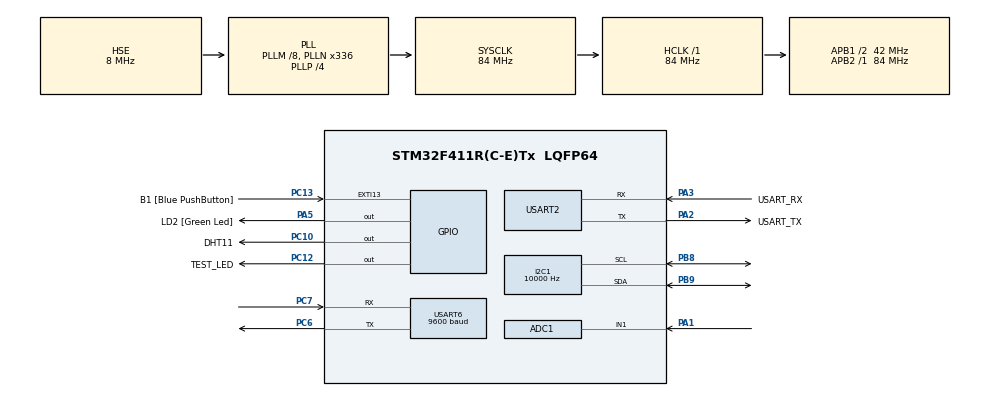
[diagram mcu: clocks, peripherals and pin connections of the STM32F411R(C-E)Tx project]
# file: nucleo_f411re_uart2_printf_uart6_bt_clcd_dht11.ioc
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ADC1.Channel-0\#ChannelRegularConversion=ADC_CHANNEL_1
ADC1.NbrOfConversionFlag=1
ADC1.Rank-0\#ChannelRegularConversion=1
ADC1.SamplingTime-0\#ChannelRegularConversion=ADC_SAMPLETIME_3CYCLES
ADC1.master=1
I2C1.ClockSpeed=10000
Mcu.Family=STM32F4
Mcu.Name=STM32F411R(C-E)Tx
Mcu.Package=LQFP64
NVIC.ADC_IRQn=true\:0\:0\:false\:false\:true\:true\:true\:true
NVIC.PriorityGroup=NVIC_PRIORITYGROUP_0
NVIC.USART2_IRQn=true\:0\:0\:false\:false\:true\:true\:true\:true
NVIC.USART6_IRQn=true\:0\:0\:false\:false\:true\:true\:true\:true
PA1.Signal=ADCx_IN1
PA13.GPIO_Label=TMS
PA13.Mode=Serial_Wire
PA13.Signal=SYS_JTMS-SWDIO
PA14.GPIO_Label=TCK
PA14.Mode=Serial_Wire
PA14.Signal=SYS_JTCK-SWCLK
PA2.GPIO_Label=USART_TX
PA2.Mode=Asynchronous
PA2.Signal=USART2_TX
PA3.GPIO_Label=USART_RX
PA3.Mode=Asynchronous
PA3.Signal=USART2_RX
PA5.GPIO_Label=LD2 [Green Led]
PA5.Signal=GPIO_Output
PB3.GPIO_Label=SWO
PB3.Signal=SYS_JTDO-SWO
PB8.Mode=I2C
PB8.Signal=I2C1_SCL
PB9.Mode=I2C
PB9.Signal=I2C1_SDA
PC10.GPIO_Label=DHT11
PC10.Signal=GPIO_Output
PC12.GPIO_Label=TEST_LED
PC12.Signal=GPIO_Output
PC13-ANTI_TAMP.GPIO_Label=B1 [Blue PushButton]
PC13-ANTI_TAMP.GPIO_ModeDefaultEXTI=GPIO_MODE_IT_FALLING
PC13-ANTI_TAMP.Signal=GPXTI13
PC14-OSC32_IN.Mode=LSE-External-Oscillator
PC14-OSC32_IN.Signal=RCC_OSC32_IN
PC15-OSC32_OUT.Mode=LSE-External-Oscillator
PC15-OSC32_OUT.Signal=RCC_OSC32_OUT
PC6.Mode=Asynchronous
PC6.Signal=USART6_TX
PC7.Mode=Asynchronous
PC7.Signal=USART6_RX
PH0\ -\ OSC_IN.Mode=HSE-External-Clock-Source
PH0\ -\ OSC_IN.Signal=RCC_OSC_IN
PH1\ -\ OSC_OUT.Mode=HSE-External-Clock-Source
PH1\ -\ OSC_OUT.Signal=RCC_OSC_OUT
ProjectManager.HeapSize=0x200
ProjectManager.StackSize=0x400
ProjectManager.TargetToolchain=STM32CubeIDE
RCC.48MHZClocksFreq_Value=84000000
RCC.AHBFreq_Value=84000000
RCC.APB1CLKDivider=RCC_HCLK_DIV2
RCC.APB1Freq_Value=42000000
RCC.APB1TimFreq_Value=84000000
RCC.APB2Freq_Value=84000000
RCC.APB2TimFreq_Value=84000000
RCC.CortexFreq_Value=84000000
RCC.FLatency-AdvancedSettings=FLASH_LATENCY_2
RCC.HCLKFreq_Value=84000000
RCC.HSE_VALUE=8000000
RCC.HSI_VALUE=16000000
RCC.PLLM=8
RCC.PLLN=336
RCC.PLLP=RCC_PLLP_DIV4
RCC.PLLSourceVirtual=RCC_PLLSOURCE_HSE
RCC.SYSCLKFreq_VALUE=84000000
RCC.SYSCLKSource=RCC_SYSCLKSOURCE_PLLCLK
RCC.VCOOutputFreq_Value=336000000
SH.ADCx_IN1.0=ADC1_IN1,IN1
USART2.VirtualMode=VM_ASYNC
USART6.BaudRate=9600
USART6.VirtualMode=VM_ASYNC
board=NUCLEO-F411RE

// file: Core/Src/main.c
/* USER CODE BEGIN Header */
/**
  ******************************************************************************
  * @file           : main.c
  * @brief          : Main program body
  ******************************************************************************
  */
/* USER CODE END Header */
#include "main.h"

/* USER CODE BEGIN Includes */
#include <stdio.h>
#include <string.h>
#include "clcd.h"
#include "dht.h"
/* USER CODE END Includes */

/* USER CODE BEGIN PTD */
// 시간 관리를 위한 구조체 정의
typedef struct {
  int year;
  int month;
  int day;
  int hour;
  int min;
  int sec;
} DATETIME;
/* USER CODE END PTD */

/* USER CODE BEGIN PD */
#ifdef __GNUC__
/* With GCC, small printf (option LD Linker->Libraries->Small printf
   set to 'Yes') calls __io_putchar() */
#define PUTCHAR_PROTOTYPE int __io_putchar(int ch)
#else
#define PUTCHAR_PROTOTYPE int fputc(int ch, FILE *f)
#endif /* __GNUC__ */
#define ARR_CNT 5
#define CMD_SIZE 50
/* USER CODE END PD */

ADC_HandleTypeDef hadc1;

I2C_HandleTypeDef hi2c1;

UART_HandleTypeDef huart2;
UART_HandleTypeDef huart6;

/* USER CODE BEGIN PV */
// CDS 관련 변수
__IO uint16_t ADCxConvertValue = 0;  // 단일 값으로 변경 (배열 대신)
__IO int adcFlag = 0;

// 블루투스 관련 변수
uint8_t rx2char;
volatile unsigned char rx2Flag = 0;
volatile char rx2Data[50];
volatile unsigned char btFlag = 0;
uint8_t btchar;
char btData[50];

// 시간 관련 변수 - 컴파일 시간으로 설정
// 아래 값을 현재 날짜/시간으로 수정하세요:
DATETIME dateTime = {
  .year = (__DATE__[7] - '0') * 1000 + (__DATE__[8] - '0') * 100 + (__DATE__[9] - '0') * 10 + (__DATE__[10] - '0'),  // 현재 연도
  .month = (__DATE__[0] == 'J' && __DATE__[1] == 'a' && __DATE__[2] == 'n') ? 1 :  // 1월
           (__DATE__[0] == 'F') ? 2 :  // 2월
           (__DATE__[0] == 'M' && __DATE__[1] == 'a' && __DATE__[2] == 'r') ? 3 :  // 3월
           (__DATE__[0] == 'A' && __DATE__[1] == 'p') ? 4 :  // 4월
           (__DATE__[0] == 'M' && __DATE__[1] == 'a' && __DATE__[2] == 'y') ? 5 :  // 5월
           (__DATE__[0] == 'J' && __DATE__[1] == 'u' && __DATE__[2] == 'n') ? 6 :  // 6월
           (__DATE__[0] == 'J' && __DATE__[1] == 'u' && __DATE__[2] == 'l') ? 7 :  // 7월
           (__DATE__[0] == 'A' && __DATE__[1] == 'u') ? 8 :  // 8월
           (__DATE__[0] == 'S') ? 9 :  // 9월
           (__DATE__[0] == 'O') ? 10 :  // 10월
           (__DATE__[0] == 'N') ? 11 :  // 11월
           (__DATE__[0] == 'D') ? 12 : 1,  // 12월 (기본값은 1월)
  .day = ((__DATE__[4] >= '0' && __DATE__[4] <= '9') ? (__DATE__[4] - '0') * 10 : 0) + (__DATE__[5] - '0'),  // 현재 일
  .hour = ((__TIME__[0] - '0') * 10) + (__TIME__[1] - '0'),  // 현재 시
  .min = ((__TIME__[3] - '0') * 10) + (__TIME__[4] - '0'),   // 현재 분
  .sec = ((__TIME__[6] - '0') * 10) + (__TIME__[7] - '0')    // 현재 초
};

char timeBuffer[20]; // 시간 표시를 위한 버퍼
uint32_t lastTickValue = 0; // 마지막 Tick 값 저장

// DHT11 센서 관련 변수
DHT11_TypeDef dht11Data;
uint32_t lastDhtReadTick = 0;
/* USER CODE END PV */

void SystemClock_Config(void);
static void MX_GPIO_Init(void);
static void MX_USART2_UART_Init(void);
static void MX_USART6_UART_Init(void);
static void MX_I2C1_Init(void);
static void MX_ADC1_Init(void);
/* USER CODE BEGIN PFP */
void bluetooth_Event();
void UpdateTimeFromSystem(void);
void DisplayDHT11Data(void);
void DisplayTime(void);  // 시간 표시 함수 추가
void ForceTimeUpdate(void);  // 강제 시간 업데이트 함수 추가
void RequestServerTime(void); // 서버 시간 요청 함수
void SyncTimeWithServer(int year, int month, int day, int hour, int min, int sec); // 시간 동기화 함수
char LCD_readChar(void); // LCD 문자 읽기 함수
/* USER CODE END PFP */

/* USER CODE BEGIN 0 */
/**
 * @brief 시간 표시 함수
 */
void DisplayTime(void) {
  static char prevTimeBuffer[20] = "";  // 이전 시간 문자열 저장

  // 시간 문자열 생성
  sprintf(timeBuffer, "%02d.%02d %02d:%02d:%02d",
          dateTime.month, dateTime.day, dateTime.hour, dateTime.min, dateTime.sec);

  // 이전 표시된 시간과 다를 경우에만 LCD 업데이트
  if(strcmp(prevTimeBuffer, timeBuffer) != 0) {
    // LCD에 시간 표시
    LCD_writeStringXY(0, 0, timeBuffer);

    // 디버그용 - 시간이 업데이트될 때마다 UART로 현재 시간 출력
    printf("Time updated: %s\r\n", timeBuffer);

    // 현재 시간 문자열 저장
    strcpy(prevTimeBuffer, timeBuffer);
  }
}

/**
 * @brief 블록 방식의 시간 업데이트 함수 (메인 루프에서 호출)
 */
void ForceTimeUpdate(void) {
  // 현재 시간 강제 표시
  sprintf(timeBuffer, "%02d.%02d %02d:%02d:%02d",
          dateTime.month, dateTime.day, dateTime.hour, dateTime.min, dateTime.sec);

  LCD_writeStringXY(0, 0, timeBuffer);
  printf("Time forced: %s\r\n", timeBuffer);

  // 매 10초마다 시간이 정상적으로 표시되는지 확인
  static uint32_t lastForceTime = 0;
  uint32_t currentTick = HAL_GetTick();

  if(currentTick - lastForceTime > 10000) {  // 10초마다
    lastForceTime = currentTick;

    // 날짜/시간 정보를 LCD 첫 번째 줄에 다시 표시
    LCD_writeStringXY(0, 0, "                ");  // 첫 줄 지우기
    HAL_Delay(50);
    LCD_writeStringXY(0, 0, timeBuffer);
    printf("Force display time: %s\r\n", timeBuffer);
  }
}

/**
 * @brief 시스템 시간을 dateTime 구조체로 업데이트
 */
void UpdateTimeFromSystem(void) {
  // 현재 시간 가져오기 (HAL_GetTick에 기반한 단순 시간)
  uint32_t currentTick = HAL_GetTick();

  // 1초(1000ms)마다 시간 업데이트
  if(currentTick - lastTickValue >= 1000) {
    lastTickValue = currentTick;

    // 초 증가
    dateTime.sec++;
    if(dateTime.sec >= 60) {
      dateTime.sec = 0;
      dateTime.min++;

      if(dateTime.min >= 60) {
        dateTime.min = 0;
        dateTime.hour++;

        if(dateTime.hour >= 24) {
          dateTime.hour = 0;
          dateTime.day++;

          // 월별 일수 처리 개선
          int daysInMonth;
          switch(dateTime.month) {
            case 2:  // 2월
              // 윤년 처리 (간단히 4로 나누어 떨어지면 윤년으로 처리)
              daysInMonth = ((dateTime.year % 4) == 0) ? 29 : 28;
              break;
            case 4: case 6: case 9: case 11:  // 30일인 달
              daysInMonth = 30;
              break;
            default:  // 그 외 31일인 달
              daysInMonth = 31;
              break;
          }

          if(dateTime.day > daysInMonth) {
            dateTime.day = 1;
            dateTime.month++;

            if(dateTime.month > 12) {
              dateTime.month = 1;
              dateTime.year++;
            }
          }
        }
      }
    }

    // 시간 표시 함수 호출
    DisplayTime();
  }
}

/**
 * @brief DHT11 센서 데이터 읽기 및 LCD에 표시
 */
void DisplayDHT11Data(void) {
  uint32_t currentTick = HAL_GetTick();

  // 2초마다 DHT11 센서 읽기
  if(currentTick - lastDhtReadTick >= 2000) {
    lastDhtReadTick = currentTick;

    // DHT11 센서 데이터 읽기
    dht11Data = DHT11_readData();

    // 온습도 값을 LCD에 표시
    char tempHumiBuffer[32];
    sprintf(tempHumiBuffer, "H:%d%% T:%d.%dC",
            dht11Data.rh_byte1, dht11Data.temp_byte1, dht11Data.temp_byte2);
    LCD_writeStringXY(1, 0, tempHumiBuffer);

    // 디버그용 출력
    printf("CDS=%4d, H:%d%%, T:%d.%dC\r\n",
           ADCxConvertValue, dht11Data.rh_byte1, dht11Data.temp_byte1, dht11Data.temp_byte2);

    // 추가: 서버로 센서 데이터 전송
    char sensorMsg[50];
    sprintf(sensorMsg, "CDS=%d, H:%d, T:%d.%dC\n",
            ADCxConvertValue, dht11Data.rh_byte1, dht11Data.temp_byte1, dht11Data.temp_byte2);
    HAL_UART_Transmit(&huart6, (uint8_t*)sensorMsg, strlen(sensorMsg), 0xFFFF);
  }
}

/**
 * @brief 서버에 시간 요청 함수 (간소화됨)
 */

uint32_t autoSyncInterval = 10000;

void RequestServerTime(void) {
  static uint32_t lastRequestTime = 0;
  uint32_t currentTime = HAL_GetTick();

  // 최소 간격 단축 (2초 -> 1초)
  if(currentTime - lastRequestTime < 1000) {
    return;
  }

  lastRequestTime = currentTime;

  char sendBuf[CMD_SIZE]={0};

  // STM32 ID로 서버에 시간 요청 - 여러 번 전송
  sprintf(sendBuf, "[LJB_STM32]GETTIME@\n");
  for(int i=0; i<2; i++) {
    HAL_UART_Transmit(&huart6, (uint8_t *)sendBuf, strlen(sendBuf), 0xFFFF);
    HAL_Delay(50); // 50ms 대기
  }

  printf("Requesting time from server (multiple attempts)\r\n");

  // LCD에 시간 요청 표시
  LCD_writeStringXY(1, 0, "Syncing time... ");
  HAL_Delay(100);
}

/**
 * @brief LCD에서 현재 글자를 읽는 함수 (문자 구현)
 * 이 함수는 실제로 사용되지 않으며, RequestServerTime 함수를 간소화하여 해결함
 */
char LCD_readChar(void) {
  // 대부분의 LCD 모듈에서는 읽기 기능을 지원하지 않습니다.
  // 따라서 이 함수는 공백 문자를 반환합니다.
  return ' ';
}

/**
 * @brief 서버로부터 받은 시간으로 STM32 시간 동기화
 */
void SyncTimeWithServer(int year, int month, int day, int hour, int min, int sec) {
  // 유효한 값인지 확인
  if(year >= 2000 && year <= 2099 &&
     month >= 1 && month <= 12 &&
     day >= 1 && day <= 31 &&
     hour >= 0 && hour <= 23 &&
     min >= 0 && min <= 59 &&
     sec >= 0 && sec <= 59) {

    // 시간 설정
    dateTime.year = year;
    dateTime.month = month;
    dateTime.day = day;
    dateTime.hour = hour;
    dateTime.min = min;
    dateTime.sec = sec;

    // 시간이 설정되었음을 출력
    printf("Time synchronized: %04d-%02d-%02d %02d:%02d:%02d\r\n",
           dateTime.year, dateTime.month, dateTime.day,
           dateTime.hour, dateTime.min, dateTime.sec);

    // LCD에 즉시 시간 표시
    DisplayTime();
  }
}
/* USER CODE END 0 */

int main(void)
{

  /* MCU Configuration--------------------------------------------------------*/

  /* Reset of all peripherals, Initializes the Flash interface and the Systick. */
  HAL_Init();

  /* Configure the system clock */
  SystemClock_Config();

  /* Initialize all configured peripherals */
  MX_GPIO_Init();
  MX_USART2_UART_Init();
  MX_USART6_UART_Init();
  MX_I2C1_Init();
  MX_ADC1_Init();
  /* USER CODE BEGIN 2 */
  printf("Start main() - CDS, DHT11, LCD, UART with Time Sync\r\n");

  // UART 인터럽트 시작
  HAL_UART_Receive_IT(&huart2, &rx2char, 1);
  HAL_UART_Receive_IT(&huart6, &btchar, 1);

  // DHT11 센서 초기화
  DHT11_Init();

  // LCD 초기화 및 테스트
  printf("Initializing LCD...\r\n");
  LCD_init(&hi2c1);
  HAL_Delay(100);  // 초기화 후 안정화 시간

  // LCD 테스트 - 간단한 메시지 표시
  LCD_writeStringXY(0, 0, "Initializing...");
  LCD_writeStringXY(1, 0, "Time sync system");
  printf("LCD initialized\r\n");
  HAL_Delay(1000);  // 1초 동안 테스트 메시지 표시

  // LCD 지우기
  LCD_clear();

  // 초기 시간 정보 출력 (디버그용)
  printf("Initial time: %04d-%02d-%02d %02d:%02d:%02d\r\n",
         dateTime.year, dateTime.month, dateTime.day,
         dateTime.hour, dateTime.min, dateTime.sec);

  // ADC 시작
  if(HAL_ADC_Start_IT(&hadc1) != HAL_OK) {
    Error_Handler();
  }

  // 초기화 변수 설정
  lastTickValue = HAL_GetTick();
  lastDhtReadTick = lastTickValue;

  // 초기 시간 표시
  DisplayTime();
  printf("Initial time displayed\r\n");

  // 서버에 시간 요청 - 초기 연결 시도
  HAL_Delay(1000); // 블루투스 안정화를 위한 지연
  RequestServerTime();
  printf("Initial time request sent to server\r\n");

  // 시작 메시지
  LCD_writeStringXY(1, 0, "System ready");
  HAL_Delay(1000);

  printf("Starting main loop...\r\n");
  /* USER CODE END 2 */

  /* Infinite loop */
  /* USER CODE BEGIN WHILE */
  uint32_t lastTimeSyncTick = HAL_GetTick(); // 마지막 시간 동기화 시간
  uint32_t autoSyncInterval = 60000; // 시간 동기화 간격 (60초로 시작)
  uint8_t syncFailCount = 0; // 동기화 실패 카운트
  uint8_t syncSuccess = 0;   // 동기화 성공 여부

  while (1)
  {
    // 시간 업데이트 및 표시
    UpdateTimeFromSystem();

    // DHT11 센서 값 읽기 및 표시
    DisplayDHT11Data();

    // ADC(CDS) 값 처리
    if(adcFlag) {
      adcFlag = 0;

      // 다음 ADC 변환 시작
      if(HAL_ADC_Start_IT(&hadc1) != HAL_OK) {
        Error_Handler();
      }
    }

    // UART 메시지 처리
    if(rx2Flag) {
      printf("recv2: %s\r\n", rx2Data);
      rx2Flag = 0;
    }

    // 블루투스 명령 처리 (이 부분에서 시간 업데이트 응답도 처리됨)
    if(btFlag) {
      printf("Received BT data: '%s'\r\n", btData); // 디버그 출력 추가

      // 시간 응답을 받았는지 확인 (정확한 형식 확인)
      if(strncmp(btData, "[GETTIME]", 9) == 0) {
        printf("Time data detected: '%s'\r\n", btData+9); // 시간 데이터 부분 출력

        // 시간 정보 파싱 - 더 유연한 방식으로
        int year=0, month=0, day=0, hour=0, min=0, sec=0;
        char timestr[50] = {0};

        strncpy(timestr, btData+9, sizeof(timestr)-1); // 시간 부분만 복사

        // 시간 데이터에서 개행 문자 제거
        char* newline = strchr(timestr, '\n');
        if(newline) *newline = '\0';

        // 공백으로 요일 부분 분리
        char* daypart = strrchr(timestr, ' ');
        if(daypart) *daypart = '\0'; // 요일 부분 제거

        // 남은 시간 데이터 파싱
        int result = sscanf(timestr, "%d.%d.%d %d:%d:%d",
                            &year, &month, &day, &hour, &min, &sec);

        printf("Parsed: %d.%d.%d %d:%d:%d (matches: %d)\r\n",
               year, month, day, hour, min, sec, result);

        if(result >= 6) {
          // 시간 설정 (2000년대 기준)
          SyncTimeWithServer(2000 + year, month, day, hour, min, sec);
          syncSuccess = 1;
          syncFailCount = 0;

          // 동기화 간격 조정
          if(autoSyncInterval < 600000) {
            autoSyncInterval *= 2;
            if(autoSyncInterval > 600000) {
              autoSyncInterval = 600000;
            }
          }
          printf("Time sync successful. Next sync in %ld seconds\r\n", autoSyncInterval/1000);
        } else {
          printf("Failed to parse time format! (matches: %d)\r\n", result);
        }
      }

      btFlag = 0;
      bluetooth_Event();
    }

    // 주기적으로 서버에 시간 요청
    uint32_t currentTick = HAL_GetTick();
    if(currentTick - lastTimeSyncTick >= autoSyncInterval) {
      lastTimeSyncTick = currentTick;

      // 이전 요청이 실패했는지 확인
      if(!syncSuccess) {
        syncFailCount++;

        // 실패 횟수에 따라 동기화 간격 조정
        if(syncFailCount > 3) {
          // 3회 이상 실패시 간격을 점진적으로 줄임
          autoSyncInterval /= 2;
          if(autoSyncInterval < 30000) {
            autoSyncInterval = 30000; // 최소 30초로 제한
          }
          syncFailCount = 0; // 카운터 초기화
          printf("Sync failed multiple times. Reducing interval to %ld seconds\r\n", autoSyncInterval/1000);
        }
      }

      // 서버에 시간 요청
      RequestServerTime();
      syncSuccess = 0; // 동기화 성공 플래그 초기화
    }

    // 간단한 지연 추가 (시스템 안정화)
    HAL_Delay(10);
    /* USER CODE END WHILE */

  }
}
void SystemClock_Config(void)
{
  RCC_OscInitTypeDef RCC_OscInitStruct = {0};
  RCC_ClkInitTypeDef RCC_ClkInitStruct = {0};

  /** Configure the main internal regulator output voltage
  */
  __HAL_RCC_PWR_CLK_ENABLE();
  __HAL_PWR_VOLTAGESCALING_CONFIG(PWR_REGULATOR_VOLTAGE_SCALE1);

  /** Initializes the RCC Oscillators according to the specified parameters
  * in the RCC_OscInitTypeDef structure.
  */
  RCC_OscInitStruct.OscillatorType = RCC_OSCILLATORTYPE_HSE;
  RCC_OscInitStruct.HSEState = RCC_HSE_ON;
  RCC_OscInitStruct.PLL.PLLState = RCC_PLL_ON;
  RCC_OscInitStruct.PLL.PLLSource = RCC_PLLSOURCE_HSE;
  RCC_OscInitStruct.PLL.PLLM = 8;
  RCC_OscInitStruct.PLL.PLLN = 336;
  RCC_OscInitStruct.PLL.PLLP = RCC_PLLP_DIV4;
  RCC_OscInitStruct.PLL.PLLQ = 4;
  if (HAL_RCC_OscConfig(&RCC_OscInitStruct) != HAL_OK)
  {
    Error_Handler();
  }

  /** Initializes the CPU, AHB and APB buses clocks
  */
  RCC_ClkInitStruct.ClockType = RCC_CLOCKTYPE_HCLK|RCC_CLOCKTYPE_SYSCLK
                              |RCC_CLOCKTYPE_PCLK1|RCC_CLOCKTYPE_PCLK2;
  RCC_ClkInitStruct.SYSCLKSource = RCC_SYSCLKSOURCE_PLLCLK;
  RCC_ClkInitStruct.AHBCLKDivider = RCC_SYSCLK_DIV1;
  RCC_ClkInitStruct.APB1CLKDivider = RCC_HCLK_DIV2;
  RCC_ClkInitStruct.APB2CLKDivider = RCC_HCLK_DIV1;

  if (HAL_RCC_ClockConfig(&RCC_ClkInitStruct, FLASH_LATENCY_2) != HAL_OK)
  {
    Error_Handler();
  }
}

static void MX_ADC1_Init(void)
{

  ADC_ChannelConfTypeDef sConfig = {0};

  /** Configure the global features of the ADC (Clock, Resolution, Data Alignment and number of conversion)
  */
  hadc1.Instance = ADC1;
  hadc1.Init.ClockPrescaler = ADC_CLOCK_SYNC_PCLK_DIV4;
  hadc1.Init.Resolution = ADC_RESOLUTION_12B;
  hadc1.Init.ScanConvMode = DISABLE;
  hadc1.Init.ContinuousConvMode = DISABLE;
  hadc1.Init.DiscontinuousConvMode = DISABLE;
  hadc1.Init.ExternalTrigConvEdge = ADC_EXTERNALTRIGCONVEDGE_NONE;
  hadc1.Init.ExternalTrigConv = ADC_SOFTWARE_START;
  hadc1.Init.DataAlign = ADC_DATAALIGN_RIGHT;
  hadc1.Init.NbrOfConversion = 1;
  hadc1.Init.DMAContinuousRequests = DISABLE;
  hadc1.Init.EOCSelection = ADC_EOC_SINGLE_CONV;
  if (HAL_ADC_Init(&hadc1) != HAL_OK)
  {
    Error_Handler();
  }

  /** Configure for the selected ADC regular channel its corresponding rank in the sequencer and its sample time.
  */
  sConfig.Channel = ADC_CHANNEL_1;
  sConfig.Rank = 1;
  sConfig.SamplingTime = ADC_SAMPLETIME_3CYCLES;
  if (HAL_ADC_ConfigChannel(&hadc1, &sConfig) != HAL_OK)
  {
    Error_Handler();
  }

}

static void MX_I2C1_Init(void)
{

  hi2c1.Instance = I2C1;
  hi2c1.Init.ClockSpeed = 10000;
  hi2c1.Init.DutyCycle = I2C_DUTYCYCLE_2;
  hi2c1.Init.OwnAddress1 = 0;
  hi2c1.Init.AddressingMode = I2C_ADDRESSINGMODE_7BIT;
  hi2c1.Init.DualAddressMode = I2C_DUALADDRESS_DISABLE;
  hi2c1.Init.OwnAddress2 = 0;
  hi2c1.Init.GeneralCallMode = I2C_GENERALCALL_DISABLE;
  hi2c1.Init.NoStretchMode = I2C_NOSTRETCH_DISABLE;
  if (HAL_I2C_Init(&hi2c1) != HAL_OK)
  {
    Error_Handler();
  }

}

static void MX_USART2_UART_Init(void)
{

  huart2.Instance = USART2;
  huart2.Init.BaudRate = 115200;
  huart2.Init.WordLength = UART_WORDLENGTH_8B;
  huart2.Init.StopBits = UART_STOPBITS_1;
  huart2.Init.Parity = UART_PARITY_NONE;
  huart2.Init.Mode = UART_MODE_TX_RX;
  huart2.Init.HwFlowCtl = UART_HWCONTROL_NONE;
  huart2.Init.OverSampling = UART_OVERSAMPLING_16;
  if (HAL_UART_Init(&huart2) != HAL_OK)
  {
    Error_Handler();
  }

}

static void MX_USART6_UART_Init(void)
{

  huart6.Instance = USART6;
  huart6.Init.BaudRate = 9600;
  huart6.Init.WordLength = UART_WORDLENGTH_8B;
  huart6.Init.StopBits = UART_STOPBITS_1;
  huart6.Init.Parity = UART_PARITY_NONE;
  huart6.Init.Mode = UART_MODE_TX_RX;
  huart6.Init.HwFlowCtl = UART_HWCONTROL_NONE;
  huart6.Init.OverSampling = UART_OVERSAMPLING_16;
  if (HAL_UART_Init(&huart6) != HAL_OK)
  {
    Error_Handler();
  }

}

static void MX_GPIO_Init(void)
{
  GPIO_InitTypeDef GPIO_InitStruct = {0};

  /* GPIO Ports Clock Enable */
  __HAL_RCC_GPIOC_CLK_ENABLE();
    __HAL_RCC_GPIOH_CLK_ENABLE();
    __HAL_RCC_GPIOA_CLK_ENABLE();
    __HAL_RCC_GPIOB_CLK_ENABLE();

    /*Configure GPIO pin Output Level */
    HAL_GPIO_WritePin(LD2_GPIO_Port, LD2_Pin, GPIO_PIN_RESET);

    /*Configure GPIO pin Output Level */
    HAL_GPIO_WritePin(GPIOC, DHT11_Pin|TEST_LED_Pin, GPIO_PIN_RESET);

    /*Configure GPIO pin : B1_Pin */
    GPIO_InitStruct.Pin = B1_Pin;
    GPIO_InitStruct.Mode = GPIO_MODE_IT_FALLING;
    GPIO_InitStruct.Pull = GPIO_NOPULL;
    HAL_GPIO_Init(B1_GPIO_Port, &GPIO_InitStruct);

    /*Configure GPIO pin : LD2_Pin */
    GPIO_InitStruct.Pin = LD2_Pin;
    GPIO_InitStruct.Mode = GPIO_MODE_OUTPUT_PP;
    GPIO_InitStruct.Pull = GPIO_NOPULL;
    GPIO_InitStruct.Speed = GPIO_SPEED_FREQ_LOW;
    HAL_GPIO_Init(LD2_GPIO_Port, &GPIO_InitStruct);

    /*Configure GPIO pins : DHT11_Pin TEST_LED_Pin */
    GPIO_InitStruct.Pin = DHT11_Pin|TEST_LED_Pin;
    GPIO_InitStruct.Mode = GPIO_MODE_OUTPUT_PP;
    GPIO_InitStruct.Pull = GPIO_NOPULL;
    GPIO_InitStruct.Speed = GPIO_SPEED_FREQ_LOW;
    HAL_GPIO_Init(GPIOC, &GPIO_InitStruct);

  }

  /* USER CODE BEGIN 4 */
  // LED 제어 함수
  void MX_GPIO_LED_ON(int pin)
  {
    HAL_GPIO_WritePin(LD2_GPIO_Port, pin, GPIO_PIN_SET);
  }

  void MX_GPIO_LED_OFF(int pin)
  {
    HAL_GPIO_WritePin(LD2_GPIO_Port, pin, GPIO_PIN_RESET);
  }

  void MX_GPIO_TEST_LED_ON(int pin)
  {
    HAL_GPIO_WritePin(TEST_LED_GPIO_Port, pin, GPIO_PIN_SET);
  }

  void MX_GPIO_TEST_LED_OFF(int pin)
  {
    HAL_GPIO_WritePin(TEST_LED_GPIO_Port, pin, GPIO_PIN_RESET);
  }

  // 블루투스 이벤트 처리 함수
  void bluetooth_Event()
  {
    int i=0;
    char * pToken;
    char * pArray[ARR_CNT]={0};
    char recvBuf[CMD_SIZE]={0};
    char sendBuf[CMD_SIZE]={0};
    strcpy(recvBuf, btData);

    // 이미 시간 메시지를 처리했으면 여기서는 무시
    if(strncmp(btData, "[GETTIME]", 9) == 0) {
      return;
    }

    printf("btData : %s\r\n", btData);

    pToken = strtok(recvBuf, "[@]");
    while(pToken != NULL)
    {
      pArray[i] = pToken;
      if(++i >= ARR_CNT)
        break;
      pToken = strtok(NULL, "[@]");
    }

    if(!strcmp(pArray[1], "LED"))
    {
      if(!strcmp(pArray[2], "ON"))
      {
        MX_GPIO_LED_ON(LD2_Pin);
      }
      else if(!strcmp(pArray[2], "OFF")) // 오타 수정 "1OFF" -> "OFF"
      {
        MX_GPIO_LED_OFF(LD2_Pin);
      }
    }
    else if(!strcmp(pArray[1], "LAMP"))
    {
      if(!strcmp(pArray[2], "ON"))
      {
        MX_GPIO_TEST_LED_ON(TEST_LED_Pin);
      }
      else if(!strcmp(pArray[2], "OFF"))
      {
        MX_GPIO_TEST_LED_OFF(TEST_LED_Pin);
      }
    }
    else if(!strcmp(pArray[1], "TIME"))
    {
      // 서버에 시간 요청
      sprintf(sendBuf, "[%s]GETTIME@\n", pArray[0]);
      HAL_UART_Transmit(&huart6, (uint8_t *)sendBuf, strlen(sendBuf), 0xFFFF);
      printf("Manually requesting server time...\r\n");
      return;
    }
    else if(!strncmp(pArray[1], " New conn", sizeof(" New conn")))
    {
      // 연결 후 자동으로 시간 요청
      HAL_Delay(500); // 연결 안정화를 위한 지연
      sprintf(sendBuf, "[%s]GETTIME@\n", pArray[0]);
      HAL_UART_Transmit(&huart6, (uint8_t *)sendBuf, strlen(sendBuf), 0xFFFF);
      printf("New connection, requesting server time...\r\n");
      return;
    }
    else if(!strncmp(pArray[1], " Already log", sizeof(" Already log")))
    {
      return;
    }
    else
      return;

    sprintf(sendBuf, "[%s]%s@%s\n", pArray[0], pArray[1], pArray[2]);
    HAL_UART_Transmit(&huart6, (uint8_t *)sendBuf, strlen(sendBuf), 0xFFFF);
  }

  /**
    * @brief  Retargets the C library printf function to the USART.
    * @param  None
    * @retval None
    */
  PUTCHAR_PROTOTYPE
  {
    /* Place your implementation of fputc here */
    HAL_UART_Transmit(&huart2, (uint8_t *)&ch, 1, 0xFFFF);
    return ch;
  }

  /**
    * @brief  ADC 변환 완료 콜백 함수
    * @param  AdcHandle: ADC 핸들 포인터
    * @retval None
    */
  void HAL_ADC_ConvCpltCallback(ADC_HandleTypeDef *AdcHandle)
  {
    ADCxConvertValue = HAL_ADC_GetValue(AdcHandle);
    adcFlag = 1;
  }

  /**
    * @brief  UART 수신 완료 콜백 함수
    * @param  huart: UART 핸들 포인터
    * @retval None
    */
  void HAL_UART_RxCpltCallback(UART_HandleTypeDef *huart)
  {
    if(huart->Instance == USART2)
    {
      static int i=0;
      rx2Data[i] = rx2char;
      if((rx2Data[i] == '\r')||(rx2Data[i] == '\n'))
      {
        rx2Data[i] = '\0';
        rx2Flag = 1;
        i = 0;
      }
      else
      {
        i++;
      }
      HAL_UART_Receive_IT(&huart2, &rx2char, 1);
    }
    else if(huart->Instance == USART6)  // 이 부분을 else if로 변경
    {
      static int i=0;
      // 버퍼 오버플로우 방지 체크 추가
      if(i >= CMD_SIZE-1) {
        i = 0; // 버퍼 오버플로우 방지
        btFlag = 1; // 강제로 처리 트리거
      }

      btData[i] = btchar;
      if((btData[i] == '\n') || btData[i] == '\r')
      {
        btData[i] = '\0';
        btFlag = 1;
        i = 0;
      }
      else
      {
        i++;
      }
      HAL_UART_Receive_IT(&huart6, &btchar, 1);
    }
  }
  /* USER CODE END 4 */

  /**
    * @brief  This function is executed in case of error occurrence.
    * @retval None
    */
  void Error_Handler(void)
  {
    /* USER CODE BEGIN Error_Handler_Debug */
    /* User can add his own implementation to report the HAL error return state */
    __disable_irq();
    while (1)
    {
      printf("Error_Handler\r\n");
    }
    /* USER CODE END Error_Handler_Debug */
  }

  #ifdef  USE_FULL_ASSERT
  /**
    * @brief  Reports the name of the source file and the source line number
    *         where the assert_param error has occurred.
    * @param  file: pointer to the source file name
    * @param  line: assert_param error line source number
    * @retval None
    */
  void assert_failed(uint8_t *file, uint32_t line)
  {
  }
  #endif /* USE_FULL_ASSERT */
